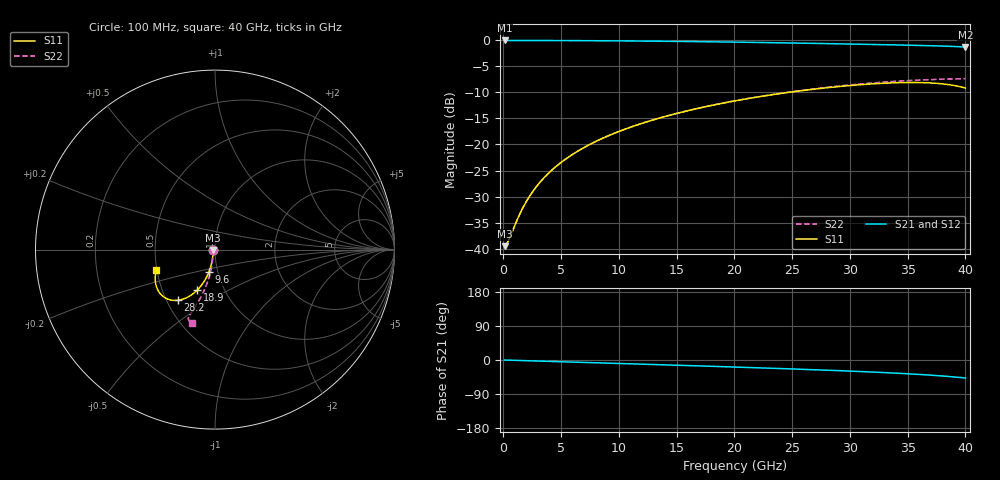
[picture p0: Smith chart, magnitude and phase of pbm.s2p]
! B_s8_L1L3_bd_d200: physics-based via model (prototype), ports at the via
# Hz S RI R 50
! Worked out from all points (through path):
!   400 points, 100 MHz to 40 GHz, reference 50 ohm
!   highest |S21| = -0.09 dB at 100 MHz (marker M1); lowest = -1.4 dB at 40 GHz (marker M2)
!   group delay of S21, straight-line fit = 3 ps
!   lowest |S11| = -39.5 dB at 100 MHz (marker M3), VSWR 1.02, Z = 49 - j0.128 ohm
!   |S11| at or under -10 dB: start of sweep to 24.8 GHz
!   |S22| runs from -39.5 to -7.4 dB; largest |S21 - S12| = 0
!   S11 on the Smith chart (normalised r, x): 100 MHz: 0.98, -0.00; 9.6 GHz: 0.91, -0.23; 18.9 GHz: 0.74, -0.36; 28.2 GHz: 0.57, -0.37; 40 GHz: 0.50, -0.13
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1e8  -0.0105 -0.00131  0.9895 -0.00156  0.9895 -0.00156  -0.0105 -0.00132
4e8  -0.0106 -0.00525  0.9894 -0.00623  0.9894 -0.00623  -0.0105 -0.00527
1.3e9  -0.0109 -0.017  0.9891 -0.0202  0.9891 -0.0202  -0.0108 -0.0171
1.8e9  -0.0113 -0.0236  0.9888 -0.028  0.9888 -0.028  -0.011 -0.0237
2.3e9  -0.0118 -0.0301  0.9884 -0.0358  0.9884 -0.0358  -0.0114 -0.0303
2.9e9  -0.0126 -0.038  0.9877 -0.0451  0.9877 -0.0451  -0.0119 -0.0382
3.7e9  -0.0139 -0.0484  0.9866 -0.0575  0.9866 -0.0575  -0.0127 -0.0487
4.6e9  -0.0158 -0.0601  0.985 -0.0715  0.985 -0.0715  -0.014 -0.0605
5.6e9  -0.0183 -0.073  0.9828 -0.087  0.9828 -0.087  -0.0156 -0.0736
6.8e9  -0.022 -0.0883  0.9797 -0.1055  0.9797 -0.1055  -0.018 -0.0892
9.6e9  -0.0334 -0.1234  0.97 -0.1485  0.97 -0.1485  -0.0254 -0.1253
1.34e10  -0.0552 -0.1686  0.9515 -0.206  0.9515 -0.206  -0.039 -0.1731
1.6e10  -0.0743 -0.1972  0.9354 -0.2447  0.9354 -0.2447  -0.0507 -0.2047
1.89e10  -0.0997 -0.2261  0.914 -0.2871  0.914 -0.2871  -0.0655 -0.2386
2.01e10  -0.1114 -0.2369  0.9041 -0.3045  0.9041 -0.3045  -0.0721 -0.2522
2.67e10  -0.1879 -0.2787  0.8388 -0.3988  0.8388 -0.3988  -0.1112 -0.3196
2.82e10  -0.2078 -0.2825  0.821 -0.4205  0.821 -0.4205  -0.1199 -0.3328
3.1e10  -0.2467 -0.2808  0.7843 -0.4621  0.7843 -0.4621  -0.1349 -0.355
3.34e10  -0.2806 -0.2671  0.7476 -0.5003  0.7476 -0.5003  -0.1446 -0.3712
3.7e10  -0.3242 -0.2124  0.6753 -0.5663  0.6753 -0.5663  -0.1475 -0.3905
3.87e10  -0.3332 -0.1644  0.6268 -0.6025  0.6268 -0.6025  -0.1395 -0.3992
4e10  -0.3268 -0.1143  0.5776 -0.6314  0.5776 -0.6314  -0.1266 -0.408
